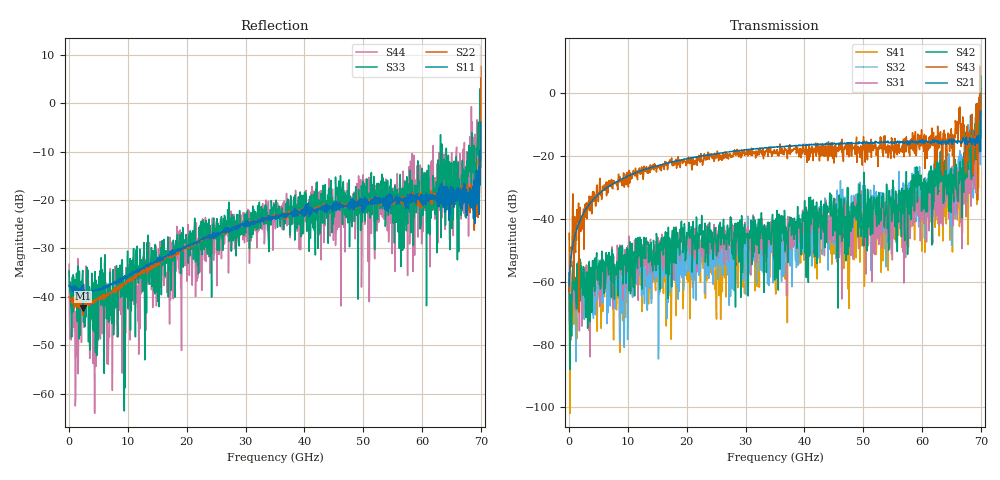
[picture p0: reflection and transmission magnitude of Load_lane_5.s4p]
!Pstart = -2.000000E+001
!Pstop = -1.000000E+001
!Pstep = 2.564103E-001
! 4/30/2026 1:02:46 PM
! C:\ANRITSUVNA\TEMP\TEMP.S4P
! CHANNEL.1
! TR.MEASUREMENT
! CORRECTED.DATA
! RF.CORRECTION: FULL.FOUR.PORT.CAL.PORT.1.2.3.4
! AVERAGING.OFF
! IF.BANDWIDTH: 100HZ
! SWEEPTYPE:  FREQ.SWEEP(Linear)
! Reference Plane Port Info
! DISTANCE:  0  m  0  m  0  m  0  m
! TIME:  0  s  0  s  0  s  0  s
! PHASE.OFFSET:  0 °  0 °  0 °  0 °
! LOSS:  0  dB  0  dB  0  dB  0  dB
! REF.LOSS:  0  dB  0  dB  0  dB  0  dB
! REF.FREQ:  0  Hz  0  Hz  0  Hz  0  Hz
! Power Info
! POWER:  -20  dBm  -20  dBm  -20  dBm  -20  dBm
! EFF.POWER:  -20  dBm  -20  dBm  -40  dBm  -40  dBm
! SOURCE.ATTEN:  0  dB  0  dB  20  dB  20  dB
! TEST.ATTEN:  0  dB  0  dB  20  dB  20  dB
! Created with skrf 1.9.0 (http://scikit-rf.org).
# Hz S RI R 50.0
!freq ReS11 ImS11 ReS12 ImS12 ReS13 ImS13
! ReS14 ImS14
! ReS21 ImS21 ReS22 ImS22 ReS23 ImS23
! ReS24 ImS24
! ReS31 ImS31 ReS32 ImS32 ReS33 ImS33
! ReS34 ImS34
! ReS41 ImS41 ReS42 ImS42 ReS43 ImS43
! ReS44 ImS44
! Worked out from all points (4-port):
!   1001 points, 10 MHz to 70 GHz, reference 50 ohm
!   strongest paths, dB at 10 MHz, 17.51 GHz, 35.01 GHz, 52.5 GHz, 70 GHz:
!     S21: -61.3, -21.8, -17.1, -15.6, -5.8
!     S43: -44.5, -22.8, -18.4, -23.3, -6.4
!     S42: -57.1, -46.0, -44.0, -34.2, 5.6
!     S31: -61.3, -47.0, -46.7, -43.9, -8.2
!     S32: -57.6, -46.8, -48.8, -42.2, 2.7
!     S41: -60.7, -51.1, -51.6, -41.8, -0.5
!   lowest |S11| = -42.4 dB at 2.39 GHz (marker M1), VSWR 1.02, Z = 49.3 + j0.158 ohm
!   |S11| at or under -10 dB: start of sweep to 69.79 GHz; 69.79234 GHz to 69.92997 GHz (137.6 MHz wide, 0.197 % of centre)
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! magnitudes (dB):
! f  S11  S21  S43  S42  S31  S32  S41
! 10 MHz  -37.7  -61.3  -44.5  -57.1  -61.3  -57.6  -60.7
! 2.39 GHz  -42.4  -38.4  -39.7  -58.9  -58.7  -61.1  -65.2
! 17.23 GHz  -31.1  -22.0  -21.9  -53.3  -51.5  -63.4  -64.5
! 62.02 GHz  -19.1  -15.3  -16.5  -34.2  -32.8  -22.6  -27.0
! 65.1 GHz  -17.4  -16.1  -13.0  -31.6  -27.2  -44.6  -43.0
! 68.95 GHz  -24.9  -16.1  -13.8  -15.5  -28.6  -16.0  -25.8
! 70 GHz  -3.9  -5.8  -6.4  5.6  -8.2  2.7  -0.5
